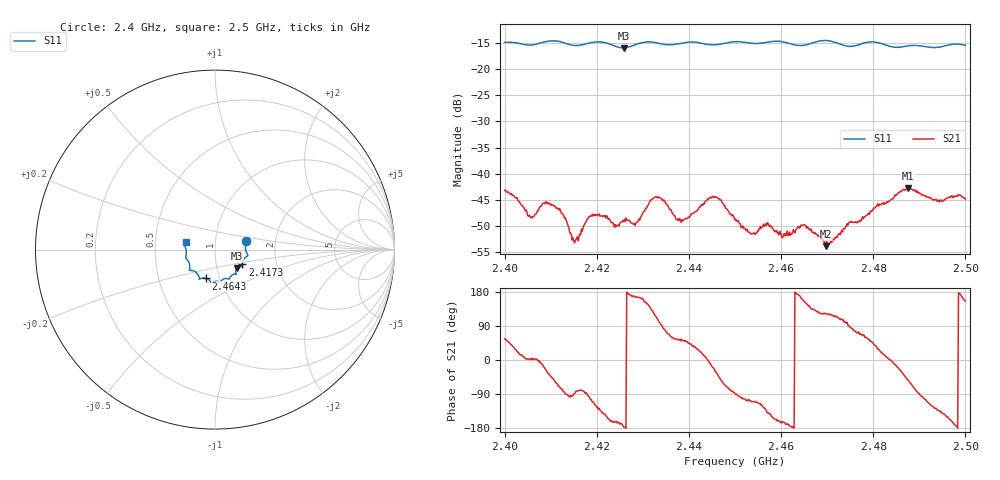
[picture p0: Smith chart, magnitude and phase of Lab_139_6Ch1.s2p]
# Hz S RI R 50
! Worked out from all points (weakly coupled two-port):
!   601 points, 2.4 GHz to 2.5 GHz, reference 50 ohm
!   highest |S21| = -42.76 dB at 2.4875 GHz (marker M1); lowest = -53.9 dB at 2.4697 GHz (marker M2)
!   lowest |S11| = -15.9 dB at 2.4258 GHz (marker M3), VSWR 1.38, Z = 62.3 - j13.3 ohm
!   |S11| at or under -10 dB: start of sweep to end of sweep
!   S12 and S22 are empty: the file has one direction only
!   S11 on the Smith chart (normalised r, x): 2.4 GHz: 1.41, +0.14; 2.4173 GHz: 1.34, -0.23; 2.4643 GHz: 0.86, -0.28; 2.5 GHz: 0.72, +0.06
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2.4e9  0.1734 0.0495  0.00387 0.00574  0 0  0 0
2.4055e9  0.17 0.0071  0.00394 6.16e-05  0 0  0 0
2.409333e9  0.1825 -0.0302  0.00437 -0.00299  0 0  0 0
2.412333e9  0.1781 -0.0373  0.00103 -0.00414  0 0  0 0
2.415e9  0.1589 -0.0559  -1.38e-05 -0.00229  0 0  0 0
2.416667e9  0.1528 -0.0751  0.000559 -0.0029  0 0  0 0
2.417333e9  0.1522 -0.0824  0.000332 -0.00322  0 0  0 0
2.419333e9  0.1537 -0.0959  -0.00158 -0.00379  0 0  0 0
2.425833e9  0.1216 -0.1039  -0.00346 -0.000206  0 0  0 0
2.4285e9  0.1154 -0.1281  -0.00325 0.000862  0 0  0 0
2.433333e9  0.1125 -0.1365  -0.00153 0.00581  0 0  0 0
2.437833e9  0.0836 -0.1536  0.00208 0.0029  0 0  0 0
2.445167e9  0.0538 -0.162  0.00572 -0.00196  0 0  0 0
2.45e9  0.0296 -0.1808  7.16e-05 -0.00361  0 0  0 0
2.453833e9  0.0111 -0.1762  -0.000887 -0.00251  0 0  0 0
2.456667e9  -0.0117 -0.1797  -0.00219 -0.0025  0 0  0 0
2.464333e9  -0.0502 -0.1606  -0.0031 0.000908  0 0  0 0
2.466667e9  -0.0764 -0.16  -0.00194 0.00197  0 0  0 0
2.469667e9  -0.0878 -0.1663  -0.00109 0.0017  0 0  0 0
2.483333e9  -0.1408 -0.0895  0.00538 0.000293  0 0  0 0
2.4875e9  -0.1581 -0.0535  0.00455 -0.00569  0 0  0 0
2.5e9  -0.1636 0.0418  -0.0052 0.00234  0 0  0 0
